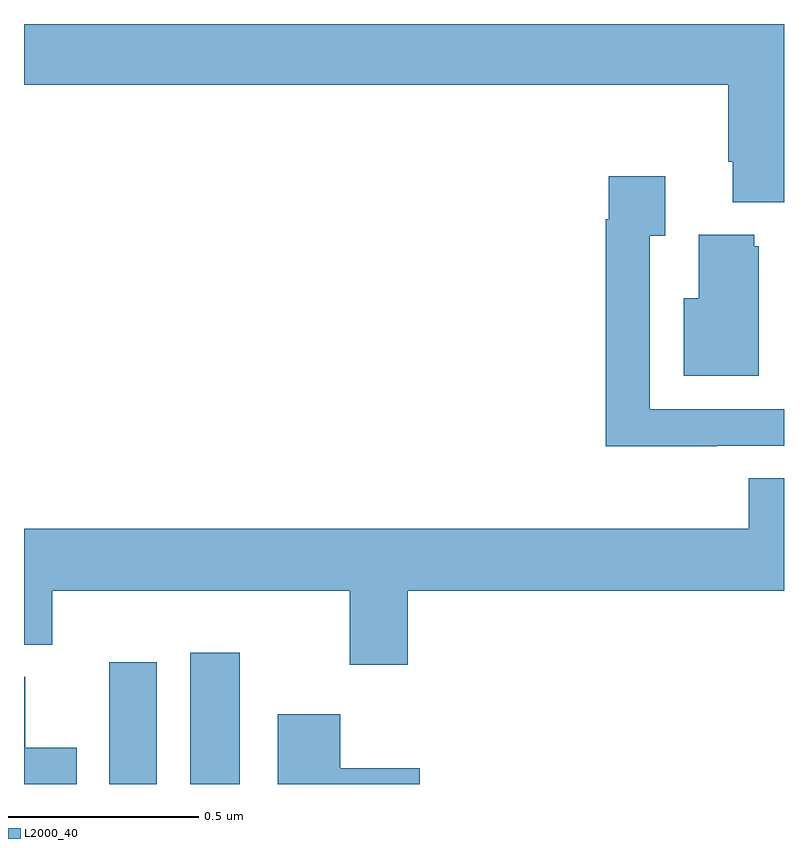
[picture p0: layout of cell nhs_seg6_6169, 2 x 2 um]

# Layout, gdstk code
import gdstk
lib = gdstk.Library(unit=1e-6, precision=1e-09)
def R(c, l, rs):  # rectangles x0, y0, x1, y1
    for r in rs: c.add(gdstk.rectangle(r[:2], r[2:], *l))
def P(c, l, *ps):  # polygons
    for p in ps: c.add(gdstk.Polygon(p, *l))
L2000_40 = (2000, 40)

nhs_seg6_6169 = lib.new_cell('nhs_seg6_6169')
R(nhs_seg6_6169, L2000_40, [(192.224,941.5,192.349,941.821), (192.437,941.5,192.568,941.845)])
P(nhs_seg6_6169, L2000_40, [(194,943.5),(192,943.5),(192,943.34),(193.853,943.34),(193.853,943.138),(193.865,943.138),(193.865,943.031),(194,943.031)],
  [(193.823,942.39),(194,942.39),(194,942.486),(193.647,942.486),(193.647,942.943),(193.687,942.943),(193.687,943.099),(193.539,943.099),(193.539,942.986),(193.531,942.986),(193.531,942.389),(193.823,942.389)],
  [(193.933,942.915),(193.922,942.915),(193.922,942.946),(193.775,942.946),(193.775,942.778),(193.736,942.778),(193.736,942.575),(193.933,942.575)],
  [(193.01,942.008),(194,942.008),(194,942.305),(193.907,942.305),(193.907,942.172),(192,942.172),(192,941.867),(192.074,941.867),(192.074,942.008),(192.857,942.008),(192.857,941.814),(193.01,941.814)],
  [(192.139,941.596),(192.003,941.596),(192.003,941.782),(192,941.782),(192,941.5),(192.139,941.5)],
  [(193.042,941.542),(192.832,941.542),(192.832,941.683),(192.668,941.683),(192.668,941.5),(193.042,941.5)])

lib.write_gds('nhs_seg6_6169.gds')
